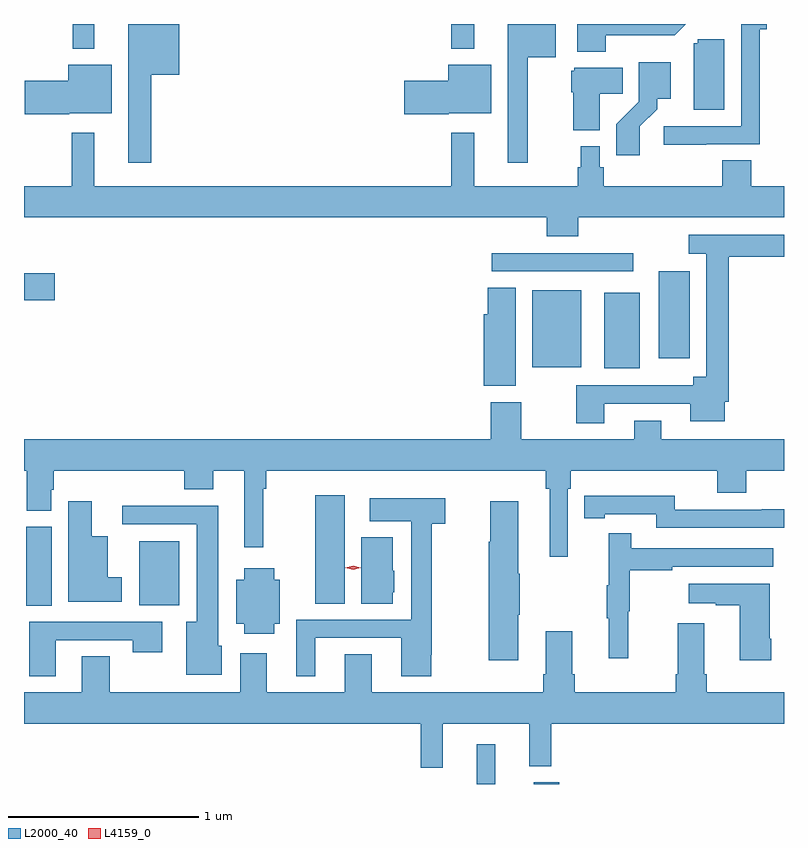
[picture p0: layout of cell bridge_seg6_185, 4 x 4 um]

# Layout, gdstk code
import gdstk
lib = gdstk.Library(unit=1e-6, precision=1e-09)
def R(c, l, rs):  # rectangles x0, y0, x1, y1
    for r in rs: c.add(gdstk.rectangle(r[:2], r[2:], *l))
def P(c, l, *ps):  # polygons
    for p in ps: c.add(gdstk.Polygon(p, *l))
L2000_40 = (2000, 40)
L4159_0 = (4159, 0)

bridge_seg6_185 = lib.new_cell('bridge_seg6_185')
R(bridge_seg6_185, L2000_40, [(282.284,928.37,282.381,928.579), (282.584,928.37,282.719,928.378), (279.914,929.308,280.048,929.724), (280.508,929.312,280.72,929.647), (281.435,929.32,281.59,929.89), (282.956,930.557,283.144,930.955), (282.578,930.563,282.835,930.97), (283.244,930.612,283.405,931.069), (279.902,930.917,280.063,931.059), (282.363,931.068,283.108,931.164), (280.159,932.24,280.273,932.37), (282.15,932.24,282.271,932.37)])
P(bridge_seg6_185, L2000_40, [(283.493,931.737),(283.774,931.737),(283.774,932.342),(283.81,932.342),(283.81,932.37),(283.676,932.37),(283.676,932.358),(283.677,932.358),(283.677,931.833),(283.269,931.833),(283.269,931.735),(283.493,931.735)],
  [(282.553,932.195),(282.7,932.195),(282.7,932.37),(282.449,932.37),(282.449,931.641),(282.553,931.641)],
  [(280.573,932.102),(280.72,932.102),(280.72,932.37),(280.451,932.37),(280.451,931.641),(280.573,931.641)],
  [(282.963,932.312),(283.327,932.312),(283.386,932.37),(282.815,932.37),(282.815,932.225),(282.963,932.225)],
  [(283.588,932.289),(283.449,932.289),(283.449,932.268),(283.427,932.268),(283.427,931.92),(283.588,931.92)],
  [(283.144,931.831),(283.234,931.921),(283.234,931.976),(283.306,931.976),(283.306,932.17),(283.137,932.17),(283.137,931.961),(283.018,931.842),(283.018,931.68),(283.144,931.68)],
  [(282.138,931.901),(282.361,931.901),(282.361,932.155),(282.134,932.155),(282.134,932.072),(281.904,932.072),(281.904,931.894),(282.138,931.894)],
  [(280.14,931.901),(280.363,931.901),(280.363,932.155),(280.136,932.155),(280.136,932.072),(279.906,932.072),(279.906,931.894),(280.14,931.894)],
  [(282.931,932.002),(283.052,932.002),(283.052,932.14),(282.798,932.14),(282.798,932.124),(282.782,932.124),(282.782,932.01),(282.794,932.01),(282.794,931.811),(282.931,931.811)],
  [(282.818,931.352),(283.902,931.352),(283.902,931.516),(283.729,931.516),(283.729,931.652),(283.577,931.652),(283.577,931.516),(282.953,931.516),(282.953,931.617),(282.933,931.617),(282.933,931.726),(282.832,931.726),(282.832,931.617),(282.817,931.617),(282.817,931.516),(282.271,931.516),(282.271,931.798),(282.15,931.798),(282.15,931.516),(280.273,931.516),(280.273,931.798),(280.152,931.798),(280.152,931.516),(279.902,931.516),(279.902,931.352),(282.653,931.352),(282.653,931.253),(282.818,931.253)],
  [(282.955,930.372),(283.409,930.372),(283.409,930.278),(283.591,930.278),(283.591,930.382),(283.61,930.382),(283.61,931.144),(283.902,931.144),(283.902,931.26),(283.401,931.26),(283.401,931.16),(283.494,931.16),(283.494,930.514),(283.424,930.514),(283.424,930.468),(282.808,930.468),(282.808,930.27),(282.955,930.27)],
  [(282.49,930.983),(282.344,930.983),(282.344,930.843),(282.323,930.843),(282.323,930.467),(282.49,930.467)],
  [(279.902,930.02),(279.917,930.02),(279.917,929.809),(280.045,929.809),(280.045,929.919),(280.058,929.919),(280.058,930.02),(280.745,930.02),(280.745,929.921),(280.897,929.921),(280.897,930.02),(281.06,930.02),(281.06,929.616),(281.162,929.616),(281.162,929.924),(281.177,929.924),(281.177,930.02),(282.649,930.02),(282.649,929.924),(282.668,929.924),(282.668,929.565),(282.765,929.565),(282.765,929.924),(282.779,929.924),(282.779,930.02),(283.55,930.02),(283.55,929.903),(283.703,929.903),(283.703,930.02),(283.902,930.02),(283.902,930.184),(283.255,930.184),(283.255,930.283),(283.115,930.283),(283.115,930.184),(282.519,930.184),(282.519,930.379),(282.359,930.379),(282.359,930.184),(279.902,930.184)],
  [(283.902,929.816),(283.786,929.816),(283.786,929.814),(283.326,929.814),(283.326,929.887),(282.958,929.887),(282.958,929.886),(282.85,929.886),(282.85,929.77),(282.958,929.77),(282.958,929.79),(283.23,929.79),(283.23,929.718),(283.902,929.718)],
  [(281.434,929.139),(281.888,929.139),(281.888,928.938),(282.045,928.938),(282.045,929.05),(282.049,929.05),(282.049,929.741),(282.118,929.741),(282.118,929.875),(281.721,929.875),(281.721,929.753),(281.94,929.753),(281.94,929.235),(281.336,929.235),(281.336,928.938),(281.434,928.938)],
  [(282.502,929.26),(282.51,929.26),(282.51,929.477),(282.502,929.477),(282.502,929.857),(282.356,929.857),(282.356,929.644),(282.349,929.644),(282.349,929.022),(282.502,929.022)],
  [(280.417,929.458),(280.342,929.458),(280.342,929.674),(280.258,929.674),(280.258,929.857),(280.136,929.857),(280.136,929.33),(280.417,929.33)],
  [(280.942,929.097),(280.924,929.097),(280.924,929.834),(280.419,929.834),(280.419,929.736),(280.811,929.736),(280.811,929.224),(280.757,929.224),(280.757,928.946),(280.942,928.946)],
  [(283.082,929.28),(283.09,929.28),(283.09,929.494),(283.313,929.494),(283.313,929.514),(283.846,929.514),(283.846,929.61),(283.097,929.61),(283.097,929.689),(282.98,929.689),(282.98,929.417),(282.969,929.417),(282.969,929.243),(282.98,929.243),(282.98,929.031),(283.082,929.031)],
  [(281.842,929.379),(281.851,929.379),(281.851,929.493),(281.842,929.493),(281.842,929.668),(281.678,929.668),(281.678,929.32),(281.842,929.32)],
  [(281.218,929.213),(281.248,929.213),(281.248,929.446),(281.218,929.446),(281.218,929.506),(281.06,929.506),(281.06,929.446),(281.018,929.446),(281.018,929.213),(281.06,929.213),(281.06,929.162),(281.218,929.162)],
  [(283.836,929.134),(283.828,929.134),(283.828,929.425),(283.401,929.425),(283.401,929.321),(283.544,929.321),(283.544,929.311),(283.67,929.311),(283.67,929.022),(283.836,929.022)],
  [(280.069,929.127),(280.474,929.127),(280.474,929.064),(280.63,929.064),(280.63,929.223),(279.929,929.223),(279.929,928.938),(280.069,928.938)],
  [(281.989,928.455),(282.107,928.455),(282.107,928.688),(282.56,928.688),(282.56,928.463),(282.677,928.463),(282.677,928.688),(283.902,928.688),(283.902,928.852),(283.496,928.852),(283.496,928.948),(283.483,928.948),(283.483,929.215),(283.343,929.215),(283.343,928.948),(283.331,928.948),(283.331,928.852),(282.8,928.852),(282.8,928.948),(282.787,928.948),(282.787,929.173),(282.647,929.173),(282.647,928.948),(282.635,928.948),(282.635,928.852),(281.731,928.852),(281.731,929.054),(281.591,929.054),(281.591,928.852),(281.179,928.852),(281.179,929.059),(281.039,929.059),(281.039,928.852),(280.353,928.852),(280.353,929.042),(280.205,929.042),(280.205,928.852),(279.902,928.852),(279.902,928.688),(281.989,928.688)])
P(bridge_seg6_185, L4159_0, [(281.634,929.498),(281.594,929.508),(281.594,929.508),(281.594,929.508),(281.634,929.518),(281.674,929.508),(281.675,929.508),(281.674,929.508)])

lib.write_gds('bridge_seg6_185.gds')
